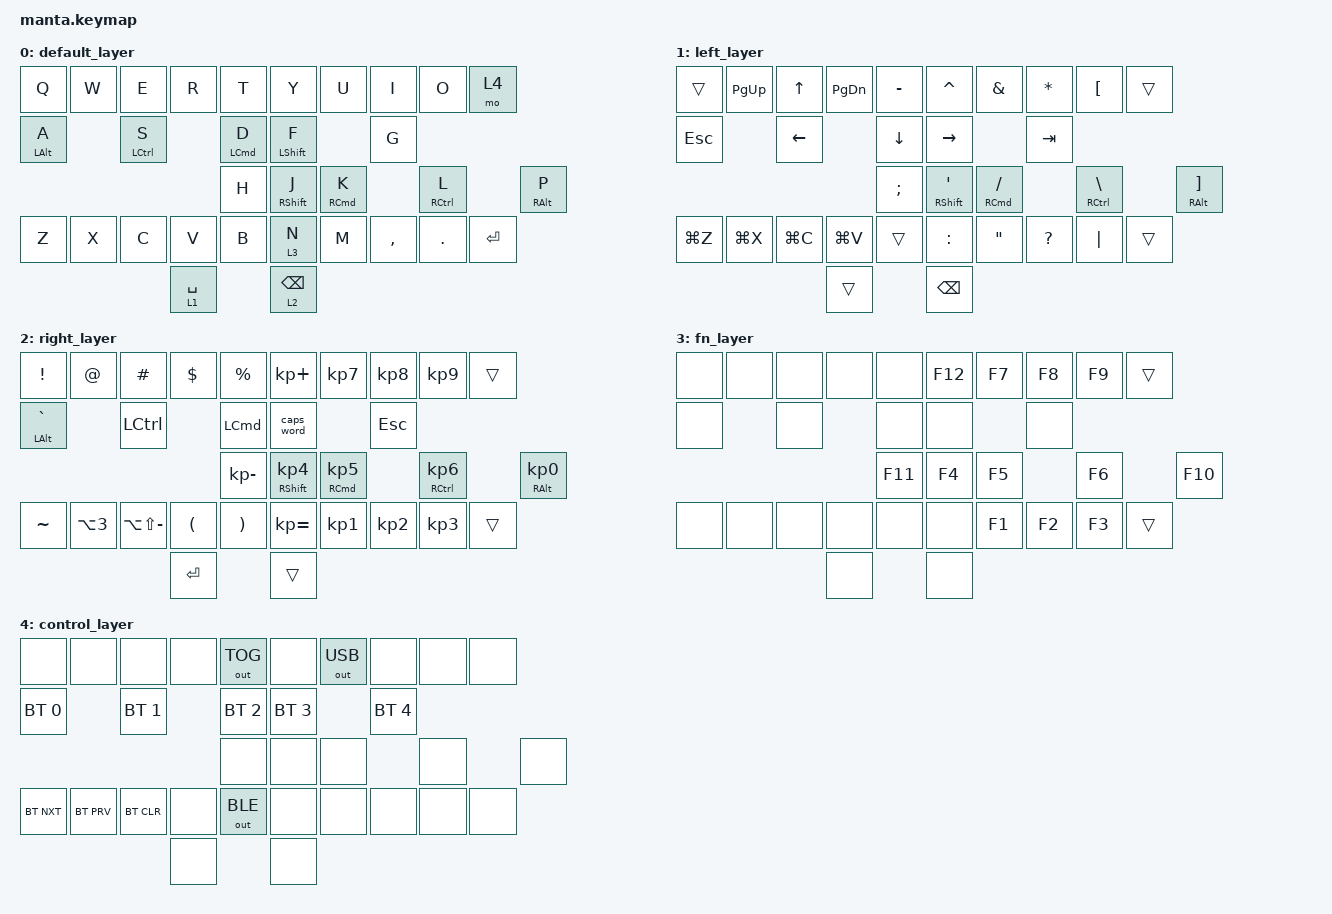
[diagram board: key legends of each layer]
#include <behaviors.dtsi>
#include <dt-bindings/zmk/keys.h>
#include <dt-bindings/zmk/outputs.h>
#include <dt-bindings/zmk/bt.h>

// My weird keymap

&caps_word {
    continue-list = <UNDERSCORE MINUS>;
};

/ {
    behaviors {
        // See https://zmk.dev/docs/behaviors/hold-tap
        hm: homerow_mods {
            compatible = "zmk,behavior-hold-tap";
            label = "HOMEROW_MODS";
            #binding-cells = <2>;
            tapping-term-ms = <150>;
            quick-tap-ms = <0>;
            flavor = "tap-preferred";
            bindings = <&kp>, <&kp>;
        };
    };

    keymap {
        compatible = "zmk,keymap";

        default_layer {
            bindings = <
                &kp Q &kp W &kp E &kp R &kp T     &kp Y &kp U &kp I &kp O &mo 4
                &hm LALT A &hm LCTRL S &hm LCMD D &hm LSHIFT F &kp G
                                        &kp H &hm RSHIFT J &hm RCMD K &hm RCTRL L &hm RALT P
                &kp Z &kp X &kp C &kp V &kp B     &lt 3 N &kp M &kp COMMA &kp DOT &kp RET
                                    &lt 1 SPACE &lt 2 BSPC
            >;
        };

        left_layer {
            bindings = <
                &trans &kp PG_UP &kp UP &kp PG_DN &kp MINUS
                                            &kp CARET &kp AMPS &kp STAR &kp LBKT &trans
                &kp ESC &kp LEFT &kp DOWN &kp RIGHT &kp TAB
                                            &kp SEMI &hm RSHIFT SQT &hm RCMD SLASH &hm RCTRL BSLH &hm RALT RBKT
                &kp LG(Z) &kp LG(X) &kp LG(C) &kp LG(V) &trans
                                            &kp COLON &kp DQT &kp QMARK &kp PIPE &trans
                                        &trans  &kp BSPC
            >;
        };

        right_layer {
            bindings = <
                &kp EXCL &kp AT &kp POUND &kp DOLLAR &kp PERCENT
                                            &kp KP_PLUS &kp KP_N7 &kp KP_N8 &kp KP_N9 &trans
                &hm LALT GRAVE &kp LCTRL &kp LCMD &caps_word &kp ESC
                                            &kp KP_MINUS &hm RSHIFT KP_N4 &hm RCMD KP_N5 &hm RCTRL KP_N6 &hm RALT KP_N0
                &kp TILDE &kp LA(N3) &kp LA(LS(MINUS)) &kp LPAR &kp RPAR
                                            &kp KP_EQUAL &kp KP_N1 &kp KP_N2 &kp KP_N3 &trans
                                        &kp RET  &trans
            >;
        };
        
        fn_layer {
            bindings = <
                &none &none &none &none &none           &kp F12 &kp F7 &kp F8 &kp F9 &trans
                &none &none &none &none &none           &kp F11 &kp F4 &kp F5 &kp F6 &kp F10
                &none &none &none &none &none           &none   &kp F1 &kp F2 &kp F3 &trans
                                             &none &none
            >;
        };

        control_layer {
            bindings = <
                &none &none &none &none &out OUT_TOG                    &none &out OUT_USB &none &none &none
                &bt BT_SEL 0 &bt BT_SEL 1 &bt BT_SEL 2 &bt BT_SEL 3 &bt BT_SEL 4
                                                                        &none &none &none &none &none
                &bt BT_NXT &bt BT_PRV &bt BT_CLR &none &out OUT_BLE     &none &none &none &none &none
                                                                &none &none
            >;
        };
    };
};
